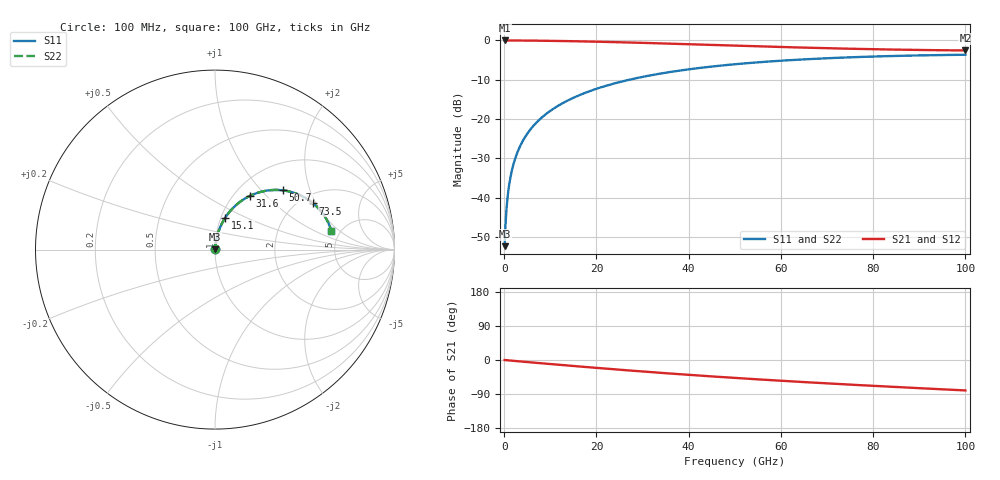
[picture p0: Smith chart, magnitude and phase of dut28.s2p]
! Touchstone file exported from HFSS 2026.1.0
!  File:  C:/ffzhzh/LocalFiles/Ansys_Project_Files/temp_train_RDL_28_1783497936_9504.aedt
!  Generated:  04:06:41 PM Jul  8, 2026
!  Design:  RDL
!  Project:  temp_train_RDL_28_1783497936_9504
! Variables:
!  h_bsmrdl = 2um
!  h_ox = 20um
!  h_rdl = 5um
!  h_sub = 80um
!  h_tmrdl = 4.01um
!  h_tsv = 80um
!  h_via = 3um
!  l_bsmrdl = 300um
!  l_sub = 649.2um
!  l_tmrdl = 249.2um
!  m_sub = 200um
!  pitch = 40.58um
!  r_tsv = 6um
!  s_tmrdl = 10um
!  w_bsmrdl = 18um
!  w_sub = 500um
!  w_tmrdl = 11.61um
!  x_tsv_center1 = 255.005um
!  x_tsv_center2 = 573.005um
!  x_tsv_center3 = 833.815um
!  x_tsv_center4 = 1151.815um
!  x_tsv_center5 = 1412.625um
!  x_tsv_center6 = 1730.625um
# GHz S MA R 50.000000
! Terminal data exported
! Port[1] = TM_RDL1_1_T1
! Port[2] = TM_RDL1_1_T2
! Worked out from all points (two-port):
!   1000 points, 100 MHz to 100 GHz, reference 50 ohm
!   highest |S21| = -0.02 dB at 100 MHz (marker M1); lowest = -2.6 dB at 100 GHz (marker M2)
!   |S21| within 3 dB of the highest: start of sweep to end of sweep
!   lowest |S11| = -52.3 dB at 100 MHz (marker M3), VSWR 1.00, Z = 50.2 + j0.138 ohm
!   |S11| at or under -10 dB: start of sweep to 27.13 GHz
!   |S22| runs from -52.3 to -3.7 dB; largest |S21 - S12| = 3.3e-15
!   S11 on the Smith chart (normalised r, x): 100 MHz: 1.00, +0.00; 15.1 GHz: 1.05, +0.39; 31.6 GHz: 1.18, +0.81; 50.7 GHz: 1.51, +1.33; 73.5 GHz: 2.34, +1.90; 100 GHz: 4.24, +1.54
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0.1  0.00243 34.3  0.998 -0.1  0.998 -0.1  0.00243 34.3
! Gamma 0 0 0 0
! Port Impedance 50 0 50 0
0.4  0.005813 68.2  0.9979 -0.4  0.9979 -0.4  0.005813 68.2
0.7  0.009617 75.9  0.9977 -0.8  0.9977 -0.8  0.009617 75.9
0.9  0.01218 78.3  0.9977 -1.0  0.9977 -1.0  0.01218 78.3
1.4  0.01865 81.2  0.9975 -1.5  0.9975 -1.5  0.01865 81.2
1.9  0.02514 82.3  0.9972 -2.1  0.9972 -2.1  0.02514 82.3
2.4  0.03164 82.7  0.9969 -2.6  0.9969 -2.6  0.03164 82.7
3.7  0.04845 82.5  0.9959 -4.0  0.9959 -4.0  0.04845 82.5
5.6  0.07271 81.1  0.9938 -6.0  0.9938 -6.0  0.07271 81.1
8.1  0.104 78.8  0.9901 -8.7  0.9901 -8.7  0.104 78.9
11.2  0.1417 75.9  0.9845 -11.9  0.9845 -11.9  0.1417 75.9
15.1  0.1876 72.1  0.9758 -15.9  0.9758 -15.9  0.1876 72.2
16.8  0.207 70.5  0.9716 -17.6  0.9716 -17.6  0.207 70.5
23.5  0.2797 64.2  0.9523 -24.2  0.9523 -24.2  0.2797 64.2
31.6  0.3584 56.8  0.9249 -31.8  0.9249 -31.8  0.3584 56.9
33.4  0.3745 55.3  0.9184 -33.4  0.9184 -33.4  0.3745 55.3
50.1  0.4982 41.6  0.8575 -47.3  0.8575 -47.3  0.4982 41.6
50.7  0.5019 41.1  0.8554 -47.8  0.8554 -47.8  0.5019 41.2
66.7  0.5808 29.6  0.8045 -59.4  0.8045 -59.4  0.5808 29.7
73.5  0.6049 25.1  0.7869 -64.0  0.7869 -64.0  0.6049 25.2
83.4  0.6316 18.9  0.766 -70.3  0.766 -70.3  0.6316 19.0
100  0.6569 9.0  0.7449 -80.3  0.7449 -80.3  0.6569 9.1
